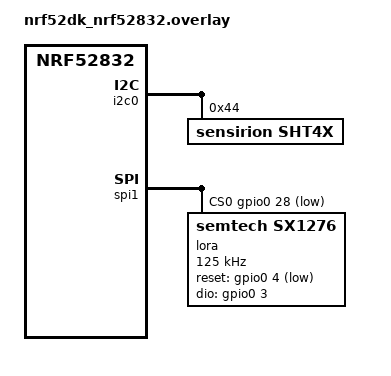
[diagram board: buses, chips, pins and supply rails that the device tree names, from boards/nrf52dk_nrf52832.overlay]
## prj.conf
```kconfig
CONFIG_GPIO=y
CONFIG_I2C=y
CONFIG_SPI=y
CONFIG_SENSOR=y
CONFIG_CBPRINTF_FP_SUPPORT=y



CONFIG_LOG=y
CONFIG_PRINTK=y
CONFIG_LOG_DEFAULT_LEVEL=4


CONFIG_LORA=y



CONFIG_MAIN_STACK_SIZE=2048
CONFIG_SYSTEM_WORKQUEUE_STACK_SIZE=2048
```

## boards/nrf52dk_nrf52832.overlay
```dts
/ {
	aliases {
		lora0 = &lora;
	};
};
	&i2c0 {
		sht4x@44 {
			repeatability = <0>;
			compatible = "sensirion,sht4x";
			reg = <0x44>;
		};
		status = "okay";
	};


	&spi1 {
		status = "okay";
		cs-gpios = <&gpio0 28 GPIO_ACTIVE_LOW>;
		lora: sx1276@0 {
			compatible = "semtech,sx1276";
			reg = <0>;
			reset-gpios = <&gpio0 4 GPIO_ACTIVE_LOW>;
			dio-gpios = <&gpio0 3 (GPIO_PULL_DOWN | GPIO_ACTIVE_HIGH)>;
			power-amplifier-output = "pa-boost";
			spi-max-frequency = <125000>;
		};
	};
```

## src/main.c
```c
/*
 * Copyright (c) 2019 Manivannan Sadhasivam
 *
 * SPDX-License-Identifier: Apache-2.0
 */

#include <zephyr/device.h>
#include <zephyr/drivers/lora.h>
#include <errno.h>
#include <zephyr/sys/util.h>
#include <zephyr/kernel.h>

#define DEFAULT_RADIO_NODE DT_ALIAS(lora0)
BUILD_ASSERT(DT_NODE_HAS_STATUS(DEFAULT_RADIO_NODE, okay),
	     "No default LoRa radio specified in DT");

#define MAX_DATA_LEN 10

#define LOG_LEVEL CONFIG_LOG_DEFAULT_LEVEL
#include <zephyr/logging/log.h>
LOG_MODULE_REGISTER(lora_send);

char data[MAX_DATA_LEN] = {'h', 'e', 'l', 'l', 'o', 'w', 'o', 'r', 'l', 'd'};

int main(void)
{
	const struct device *const lora_dev = DEVICE_DT_GET(DEFAULT_RADIO_NODE);
	struct lora_modem_config config;
	int ret;

	if (!device_is_ready(lora_dev)) {
		LOG_ERR("%s Device not ready", lora_dev->name);
		return 0;
	}

	config.frequency = 433000000;
	config.bandwidth = BW_125_KHZ;
	config.datarate = SF_10;
	config.preamble_len = 8;
	config.coding_rate = CR_4_5;
	config.iq_inverted = false;
	config.public_network = false;
	config.tx_power = 4;
	config.tx = true;

	ret = lora_config(lora_dev, &config);
	if (ret < 0) {
		LOG_ERR("LoRa config failed");
		return 0;
	}

	while (1) {
		ret = lora_send(lora_dev, data, MAX_DATA_LEN);
		if (ret < 0) {
			LOG_ERR("LoRa send failed");
			return 0;
		}

		LOG_INF("Data sent!");

		/* Send data at 1s interval */
		k_sleep(K_MSEC(1000));
	}
	return 0;
}
```
